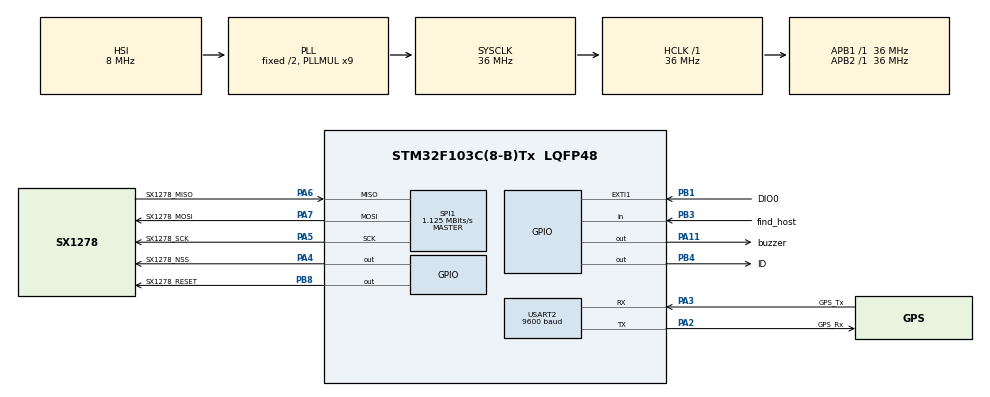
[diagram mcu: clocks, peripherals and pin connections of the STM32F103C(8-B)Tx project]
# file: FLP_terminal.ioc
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Mcu.Family=STM32F1
Mcu.Name=STM32F103C(8-B)Tx
Mcu.Package=LQFP48
NVIC.PriorityGroup=NVIC_PRIORITYGROUP_4
NVIC.USART2_IRQn=true\:0\:0\:false\:false\:true\:true\:true\:true
PA11.GPIO_Label=buzzer
PA11.Signal=GPIO_Output
PA2.GPIO_Label=GPS_Rx
PA2.Mode=Asynchronous
PA2.Signal=USART2_TX
PA3.GPIO_Label=GPS_Tx
PA3.Mode=Asynchronous
PA3.Signal=USART2_RX
PA4.GPIO_Label=SX1278_NSS
PA4.Signal=GPIO_Output
PA5.GPIO_Label=SX1278_SCK
PA5.Mode=Full_Duplex_Master
PA5.Signal=SPI1_SCK
PA6.GPIO_Label=SX1278_MISO
PA6.Mode=Full_Duplex_Master
PA6.Signal=SPI1_MISO
PA7.GPIO_Label=SX1278_MOSI
PA7.Mode=Full_Duplex_Master
PA7.Signal=SPI1_MOSI
PB1.GPIO_Label=DIO0
PB1.Signal=GPXTI1
PB3.GPIO_Label=find_host
PB3.Signal=GPIO_Input
PB4.GPIO_Label=ID
PB4.Signal=GPIO_Output
PB8.GPIO_Label=SX1278_RESET
PB8.Signal=GPIO_Output
ProjectManager.HeapSize=0x200
ProjectManager.StackSize=0x400
ProjectManager.TargetToolchain=STM32CubeIDE
RCC.AHBFreq_Value=36000000
RCC.APB1Freq_Value=36000000
RCC.APB1TimFreq_Value=36000000
RCC.APB2Freq_Value=36000000
RCC.APB2TimFreq_Value=36000000
RCC.HCLKFreq_Value=36000000
RCC.PLLMUL=RCC_PLL_MUL9
RCC.SYSCLKFreq_VALUE=36000000
RCC.SYSCLKSource=RCC_SYSCLKSOURCE_PLLCLK
RCC.USBFreq_Value=36000000
SPI1.BaudRatePrescaler=SPI_BAUDRATEPRESCALER_32
SPI1.CalculateBaudRate=1.125 MBits/s
SPI1.Direction=SPI_DIRECTION_2LINES
SPI1.Mode=SPI_MODE_MASTER
SPI1.VirtualType=VM_MASTER
USART2.BaudRate=9600
USART2.VirtualMode=VM_ASYNC
VP_SYS_VS_ND.Mode=No_Debug
board=custom

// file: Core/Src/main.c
/* USER CODE BEGIN Header */
/**
  ******************************************************************************
  * @file           : main.c
  * @brief          : Main program body
  ******************************************************************************
  * @attention
  *
  * Copyright (c) 2025 STMicroelectronics.
  * All rights reserved.
  *
  * This software is licensed under terms that can be found in the LICENSE file
  * in the root directory of this software component.
  * If no LICENSE file comes with this software, it is provided AS-IS.
  *
  ******************************************************************************
  */
/* USER CODE END Header */
#include "main.h"

SPI_HandleTypeDef hspi1;

UART_HandleTypeDef huart2;

/* USER CODE BEGIN PV */
uint8_t gps_rx_buffer[1];
char gps_sentence[128];
uint8_t gps_index = 0;
/* USER CODE END PV */

void SystemClock_Config(void);
static void MX_GPIO_Init(void);
static void MX_SPI1_Init(void);
static void MX_USART2_UART_Init(void);

int main(void)
{

  /* MCU Configuration--------------------------------------------------------*/

  /* Reset of all peripherals, Initializes the Flash interface and the Systick. */
  HAL_Init();

  /* Configure the system clock */
  SystemClock_Config();

  /* Initialize all configured peripherals */
  MX_GPIO_Init();
  MX_SPI1_Init();
  MX_USART2_UART_Init();
  /* USER CODE BEGIN 2 */
  HAL_UART_Receive_IT(&huart2, gps_rx_buffer, 1);
  /* USER CODE END 2 */

  /* Infinite loop */
  while (1)
  {

  }
}

void SystemClock_Config(void)
{
  RCC_OscInitTypeDef RCC_OscInitStruct = {0};
  RCC_ClkInitTypeDef RCC_ClkInitStruct = {0};

  /** Initializes the RCC Oscillators according to the specified parameters
  * in the RCC_OscInitTypeDef structure.
  */
  RCC_OscInitStruct.OscillatorType = RCC_OSCILLATORTYPE_HSI;
  RCC_OscInitStruct.HSIState = RCC_HSI_ON;
  RCC_OscInitStruct.HSICalibrationValue = RCC_HSICALIBRATION_DEFAULT;
  RCC_OscInitStruct.PLL.PLLState = RCC_PLL_ON;
  RCC_OscInitStruct.PLL.PLLSource = RCC_PLLSOURCE_HSI_DIV2;
  RCC_OscInitStruct.PLL.PLLMUL = RCC_PLL_MUL9;
  if (HAL_RCC_OscConfig(&RCC_OscInitStruct) != HAL_OK)
  {
    Error_Handler();
  }

  /** Initializes the CPU, AHB and APB buses clocks
  */
  RCC_ClkInitStruct.ClockType = RCC_CLOCKTYPE_HCLK|RCC_CLOCKTYPE_SYSCLK
                              |RCC_CLOCKTYPE_PCLK1|RCC_CLOCKTYPE_PCLK2;
  RCC_ClkInitStruct.SYSCLKSource = RCC_SYSCLKSOURCE_PLLCLK;
  RCC_ClkInitStruct.AHBCLKDivider = RCC_SYSCLK_DIV1;
  RCC_ClkInitStruct.APB1CLKDivider = RCC_HCLK_DIV1;
  RCC_ClkInitStruct.APB2CLKDivider = RCC_HCLK_DIV1;

  if (HAL_RCC_ClockConfig(&RCC_ClkInitStruct, FLASH_LATENCY_1) != HAL_OK)
  {
    Error_Handler();
  }
}

static void MX_SPI1_Init(void)
{

  /* SPI1 parameter configuration*/
  hspi1.Instance = SPI1;
  hspi1.Init.Mode = SPI_MODE_MASTER;
  hspi1.Init.Direction = SPI_DIRECTION_2LINES;
  hspi1.Init.DataSize = SPI_DATASIZE_8BIT;
  hspi1.Init.CLKPolarity = SPI_POLARITY_LOW;
  hspi1.Init.CLKPhase = SPI_PHASE_1EDGE;
  hspi1.Init.NSS = SPI_NSS_SOFT;
  hspi1.Init.BaudRatePrescaler = SPI_BAUDRATEPRESCALER_32;
  hspi1.Init.FirstBit = SPI_FIRSTBIT_MSB;
  hspi1.Init.TIMode = SPI_TIMODE_DISABLE;
  hspi1.Init.CRCCalculation = SPI_CRCCALCULATION_DISABLE;
  hspi1.Init.CRCPolynomial = 10;
  if (HAL_SPI_Init(&hspi1) != HAL_OK)
  {
    Error_Handler();
  }

}

static void MX_USART2_UART_Init(void)
{

  huart2.Instance = USART2;
  huart2.Init.BaudRate = 9600;
  huart2.Init.WordLength = UART_WORDLENGTH_8B;
  huart2.Init.StopBits = UART_STOPBITS_1;
  huart2.Init.Parity = UART_PARITY_NONE;
  huart2.Init.Mode = UART_MODE_TX_RX;
  huart2.Init.HwFlowCtl = UART_HWCONTROL_NONE;
  huart2.Init.OverSampling = UART_OVERSAMPLING_16;
  if (HAL_UART_Init(&huart2) != HAL_OK)
  {
    Error_Handler();
  }

}

static void MX_GPIO_Init(void)
{
  GPIO_InitTypeDef GPIO_InitStruct = {0};

  /* GPIO Ports Clock Enable */
  __HAL_RCC_GPIOA_CLK_ENABLE();
  __HAL_RCC_GPIOB_CLK_ENABLE();

  /*Configure GPIO pin Output Level */
  HAL_GPIO_WritePin(GPIOA, SX1278_NSS_Pin|buzzer_Pin, GPIO_PIN_RESET);

  /*Configure GPIO pin Output Level */
  HAL_GPIO_WritePin(GPIOB, ID_Pin|SX1278_RESET_Pin, GPIO_PIN_RESET);

  /*Configure GPIO pins : SX1278_NSS_Pin buzzer_Pin */
  GPIO_InitStruct.Pin = SX1278_NSS_Pin|buzzer_Pin;
  GPIO_InitStruct.Mode = GPIO_MODE_OUTPUT_PP;
  GPIO_InitStruct.Pull = GPIO_NOPULL;
  GPIO_InitStruct.Speed = GPIO_SPEED_FREQ_LOW;
  HAL_GPIO_Init(GPIOA, &GPIO_InitStruct);

  /*Configure GPIO pin : DIO0_Pin */
  GPIO_InitStruct.Pin = DIO0_Pin;
  GPIO_InitStruct.Mode = GPIO_MODE_IT_RISING;
  GPIO_InitStruct.Pull = GPIO_NOPULL;
  HAL_GPIO_Init(DIO0_GPIO_Port, &GPIO_InitStruct);

  /*Configure GPIO pin : find_host_Pin */
  GPIO_InitStruct.Pin = find_host_Pin;
  GPIO_InitStruct.Mode = GPIO_MODE_INPUT;
  GPIO_InitStruct.Pull = GPIO_NOPULL;
  HAL_GPIO_Init(find_host_GPIO_Port, &GPIO_InitStruct);

  /*Configure GPIO pins : ID_Pin SX1278_RESET_Pin */
  GPIO_InitStruct.Pin = ID_Pin|SX1278_RESET_Pin;
  GPIO_InitStruct.Mode = GPIO_MODE_OUTPUT_PP;
  GPIO_InitStruct.Pull = GPIO_NOPULL;
  GPIO_InitStruct.Speed = GPIO_SPEED_FREQ_LOW;
  HAL_GPIO_Init(GPIOB, &GPIO_InitStruct);

}

/* USER CODE BEGIN 4 */
void HAL_UART_RxCpltCallback(UART_HandleTypeDef *huart)
{
    if (huart->Instance == USART2) {
        if (gps_rx_buffer[0] == '\n') {
            gps_sentence[gps_index] = '\0';
            gps_index = 0;
            parse_gps_sentence(gps_sentence);
        } else {
            gps_sentence[gps_index++] = gps_rx_buffer[0];
            if (gps_index >= 127) gps_index = 0;
        }
        HAL_UART_Receive_IT(&huart2, gps_rx_buffer, 1);
    }
}

void HAL_GPIO_EXTI_Callback(uint16_t GPIO_Pin)
{
    if (GPIO_Pin == DIO0_Pin) {
        lora_irq_handler();
    }
}
/* USER CODE END 4 */

void Error_Handler(void)
{
  __disable_irq();
  while (1)
  {
  }
}
